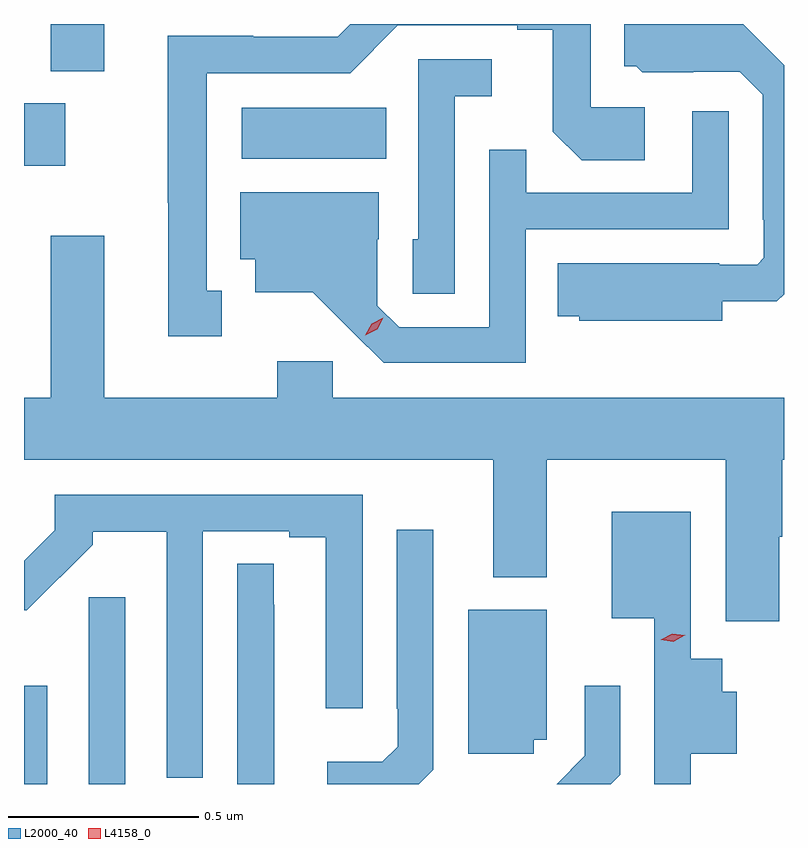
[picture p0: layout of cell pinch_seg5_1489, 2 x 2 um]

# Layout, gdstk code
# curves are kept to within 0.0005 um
import gdstk
lib = gdstk.Library(unit=1e-6, precision=1e-09)
def R(c, l, rs):  # rectangles x0, y0, x1, y1
    for r in rs: c.add(gdstk.rectangle(r[:2], r[2:], *l))
def P(c, l, *ps):  # polygons
    for p in ps: c.add(gdstk.Polygon(p, *l))
L2000_40 = (2000, 40)
L4158_0 = (4158, 0)

pinch_seg5_1489 = lib.new_cell('pinch_seg5_1489')
R(pinch_seg5_1489, L2000_40, [(129.921,883.879,129.982,884.137), (130.092,883.879,130.188,884.371), (129.921,885.506,130.03,885.67), (130.494,885.524,130.874,885.658), (129.992,885.755,130.132,885.879)])
P(pinch_seg5_1489, L2000_40, [(131.758,885.149),(131.902,885.149),(131.921,885.168),(131.921,885.77),(131.814,885.879),(131.501,885.879),(131.501,885.768),(131.532,885.768),(131.548,885.752),(131.682,885.752),(131.682,885.753),(131.805,885.753),(131.865,885.693),(131.865,885.364),(131.868,885.364),(131.868,885.264),(131.85,885.246),(131.75,885.246),(131.75,885.25),(131.326,885.25),(131.326,885.11),(131.382,885.11),(131.382,885.098),(131.758,885.098)],
  [(130.441,885.177),(130.402,885.177),(130.402,885.75),(130.779,885.75),(130.905,885.876),(131.219,885.876),(131.219,885.864),(131.313,885.864),(131.313,885.596),(131.389,885.52),(131.554,885.52),(131.554,885.66),(131.412,885.66),(131.412,885.879),(130.779,885.879),(130.746,885.846),(130.524,885.846),(130.524,885.848),(130.299,885.848),(130.299,885.409),(130.301,885.409),(130.301,885.057),(130.441,885.057)],
  [(131.055,885.689),(131.152,885.689),(131.152,885.786),(130.959,885.786),(130.959,885.312),(130.944,885.312),(130.944,885.169),(131.055,885.169)],
  [(131.241,885.339),(131.775,885.339),(131.775,885.649),(131.679,885.649),(131.679,885.435),(131.243,885.435),(131.243,885.548),(131.145,885.548),(131.145,885.081),(130.908,885.081),(130.851,885.138),(130.851,885.312),(130.855,885.312),(130.855,885.436),(130.49,885.436),(130.49,885.26),(130.529,885.26),(130.529,885.173),(130.681,885.173),(130.868,884.988),(131.241,884.988)],
  [(131.908,884.53),(131.916,884.53),(131.916,884.732),(131.921,884.732),(131.921,884.896),(130.734,884.896),(130.734,884.992),(130.588,884.992),(130.588,884.896),(130.132,884.896),(130.132,885.322),(129.992,885.322),(129.992,884.896),(129.921,884.896),(129.921,884.732),(131.156,884.732),(131.156,884.423),(131.296,884.423),(131.296,884.732),(131.768,884.732),(131.768,884.307),(131.908,884.307)],
  [(130.392,884.544),(130.619,884.544),(130.619,884.529),(130.715,884.529),(130.715,884.079),(130.812,884.079),(130.812,884.64),(130.002,884.64),(130.002,884.547),(129.921,884.466),(129.921,884.336),(129.928,884.336),(130.102,884.509),(130.102,884.543),(130.296,884.543),(130.296,883.895),(130.392,883.895)],
  [(131.676,883.958),(131.797,883.958),(131.797,884.122),(131.758,884.122),(131.758,884.209),(131.676,884.209),(131.676,884.596),(131.468,884.596),(131.468,884.315),(131.58,884.315),(131.58,883.879),(131.676,883.879)],
  [(130.998,883.917),(130.998,884.548),(130.902,884.548),(130.902,884.077),(130.905,884.077),(130.905,883.977),(130.864,883.937),(130.719,883.937),(130.719,883.879),(130.96,883.879)],
  [(130.579,884.351),(130.578,884.351),(130.578,884.459),(130.482,884.459),(130.482,883.879),(130.579,883.879)],
  [(131.262,883.995),(131.296,883.995),(131.296,884.338),(131.09,884.338),(131.09,883.959),(131.262,883.959)],
  [(131.49,883.904),(131.49,884.137),(131.397,884.137),(131.397,883.953),(131.323,883.879),(131.465,883.879)])
P(pinch_seg5_1489, L4158_0, [(131.63,884.254),(131.597,884.258),(131.596,884.259),(131.597,884.259),(131.627,884.274),(131.66,884.27),(131.661,884.27),(131.66,884.27)],
  [(130.819,885.06),(130.819,885.06),(130.836,885.09),(130.867,885.106),(130.867,885.106),(130.867,885.106),(130.85,885.076),(130.819,885.06)])

lib.write_gds('pinch_seg5_1489.gds')
